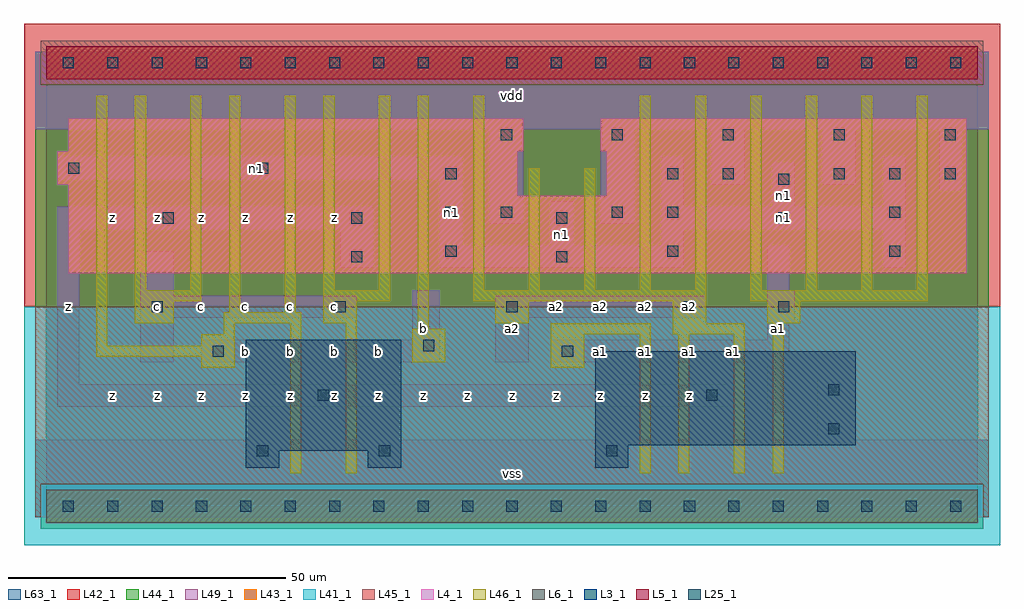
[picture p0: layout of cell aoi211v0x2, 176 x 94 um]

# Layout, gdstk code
import gdstk
lib = gdstk.Library(unit=1e-6, precision=1e-09)
def R(c, l, rs):  # rectangles x0, y0, x1, y1
    for r in rs: c.add(gdstk.rectangle(r[:2], r[2:], *l))
def A(c, l, x, y, w, h, nx, ny, dx, dy):  # array of equal rectangles
    R(c, l, [(x+i*dx, y+j*dy, x+i*dx+w, y+j*dy+h) for i in range(nx) for j in range(ny)])
L3_1 = (3, 1)
L4_1 = (4, 1)
L5_1 = (5, 1)
L6_1 = (6, 1)
L25_1 = (25, 1)
L41_1 = (41, 1)
L42_1 = (42, 1)
L43_1 = (43, 1)
L44_1 = (44, 1)
L45_1 = (45, 1)
L46_1 = (46, 1)
L49_1 = (49, 1)
L63_1 = (63, 1)

aoi211v0x2 = lib.new_cell('aoi211v0x2')
R(aoi211v0x2, L3_1, [(36,7,42,10), (58,7,64,10), (99,7,105,11), (36,10,64,30), (99,11,146,28)])
R(aoi211v0x2, L4_1, [(4,42,166,56), (4,56,85,58), (101,56,166,64), (2,58,85,64), (4,64,86,70), (100,64,166,70)])
R(aoi211v0x2, L5_1, [(0,77,168,83)])
R(aoi211v0x2, L6_1, [(0,-3,168,3), (0,-3,168,3)])
A(aoi211v0x2, L25_1, 3, -1, 2, 2, 21, 2, 8, 80)
A(aoi211v0x2, L25_1, 72, 45, 2, 2, 3, 1, 40, 0)
A(aoi211v0x2, L25_1, 142, 59, 2, 2, 3, 1, 10, 0)
A(aoi211v0x2, L25_1, 82, 66, 2, 2, 5, 1, 20, 0)
R(aoi211v0x2, L25_1, [(38,9,40,11), (60,9,62,11), (101,9,103,11), (141,13,143,15), (49,19,51,21), (119,19,121,21), (141,20,143,22), (30,27,32,29), (93,27,95,29), (68,28,70,30), (19,35,21,37), (52,35,54,37), (83,35,85,37), (115,35,117,37), (132,35,134,37), (55,44,57,46), (92,44,94,46), (21,51,23,53), (55,51,57,53), (92,51,94,53), (132,51,134,53), (72,52,74,54), (82,52,84,54), (102,52,104,54), (112,52,114,54), (152,52,154,54), (132,58,134,60), (72,59,74,61), (112,59,114,61), (122,59,124,61), (4,60,6,62), (38,60,40,62)])
R(aoi211v0x2, L41_1, [(-4,-7,172,36)])
R(aoi211v0x2, L42_1, [(-4,36,172,87)])
R(aoi211v0x2, L43_1, [(0,-3,168,3), (36,7,42,10), (58,7,64,10), (99,7,105,11), (36,10,64,30), (99,11,146,28), (4,42,166,56), (4,56,85,58), (101,56,166,64), (2,58,85,64), (4,64,86,70), (100,64,166,70), (0,77,168,83)])
R(aoi211v0x2, L44_1, [(-1,-4,169,4), (-2,36,170,76), (-2,76,-1,82), (169,76,170,82)])
R(aoi211v0x2, L45_1, [(-2,-2,-1,4), (169,-2,170,4), (-2,4,170,36), (-1,76,169,84)])
A(aoi211v0x2, L46_1, 107, 39, 2, 35, 6, 1, 10, 0)
R(aoi211v0x2, L46_1, [(44,6,46,33), (54,6,56,33), (107,6,109,31), (114,6,116,31), (124,6,126,31), (131,6,133,33), (28,25,34,27), (91,25,97,31), (66,26,72,32), (9,27,34,29), (9,29,11,74), (28,29,34,31), (32,31,34,33), (91,31,109,33), (113,31,126,33), (67,32,69,74), (16,33,23,37), (32,33,46,35), (50,33,56,37), (81,33,87,37), (113,33,119,37), (130,33,136,37), (33,35,35,74), (43,35,45,74), (16,37,28,39), (50,37,62,39), (77,37,119,39), (127,37,159,39), (16,39,18,74), (26,39,28,74), (50,39,52,74), (60,39,62,74), (77,39,79,74), (87,39,89,61), (97,39,99,61)])
R(aoi211v0x2, L49_1, [(-2,-2,170,12), (139,12,145,23), (130,17,134,26), (2,18,123,22), (2,22,6,50), (17,26,23,34), (28,26,71,30), (81,26,87,34), (91,26,134,30), (66,30,71,39), (130,30,134,33), (130,33,135,39), (17,34,56,38), (81,34,119,38), (17,38,23,46), (130,39,134,47), (53,43,59,50), (71,43,115,47), (151,43,155,50), (71,47,75,59), (91,47,95,55), (111,47,115,50), (2,50,59,54), (111,50,155,54), (80,51,86,68), (100,51,106,68), (111,54,115,63), (131,54,135,62), (151,54,155,63), (161,57,165,68), (120,58,126,68), (140,58,146,68), (2,59,75,63), (-2,68,170,82)])
R(aoi211v0x2, L63_1, [(0,0,168,80)])
aoi211v0x2.add(gdstk.Label('z', (20,20), layer=49, texttype=1))
aoi211v0x2.add(gdstk.Label('z', (12,20), layer=49, texttype=1))
aoi211v0x2.add(gdstk.Label('c', (20,36), layer=49, texttype=1))
aoi211v0x2.add(gdstk.Label('z', (4,36), layer=49, texttype=1))
aoi211v0x2.add(gdstk.Label('z', (12,52), layer=49, texttype=1))
aoi211v0x2.add(gdstk.Label('z', (20,52), layer=49, texttype=1))
aoi211v0x2.add(gdstk.Label('z', (28,20), layer=49, texttype=1))
aoi211v0x2.add(gdstk.Label('z', (52,20), layer=49, texttype=1))
aoi211v0x2.add(gdstk.Label('z', (44,20), layer=49, texttype=1))
aoi211v0x2.add(gdstk.Label('z', (36,20), layer=49, texttype=1))
aoi211v0x2.add(gdstk.Label('b', (36,28), layer=49, texttype=1))
aoi211v0x2.add(gdstk.Label('b', (44,28), layer=49, texttype=1))
aoi211v0x2.add(gdstk.Label('b', (52,28), layer=49, texttype=1))
aoi211v0x2.add(gdstk.Label('c', (28,36), layer=49, texttype=1))
aoi211v0x2.add(gdstk.Label('c', (52,36), layer=49, texttype=1))
aoi211v0x2.add(gdstk.Label('c', (44,36), layer=49, texttype=1))
aoi211v0x2.add(gdstk.Label('c', (36,36), layer=49, texttype=1))
aoi211v0x2.add(gdstk.Label('z', (28,52), layer=49, texttype=1))
aoi211v0x2.add(gdstk.Label('z', (36,52), layer=49, texttype=1))
aoi211v0x2.add(gdstk.Label('z', (44,52), layer=49, texttype=1))
aoi211v0x2.add(gdstk.Label('z', (52,52), layer=49, texttype=1))
aoi211v0x2.add(gdstk.Label('z', (76,20), layer=49, texttype=1))
aoi211v0x2.add(gdstk.Label('z', (68,20), layer=49, texttype=1))
aoi211v0x2.add(gdstk.Label('z', (60,20), layer=49, texttype=1))
aoi211v0x2.add(gdstk.Label('b', (60,28), layer=49, texttype=1))
aoi211v0x2.add(gdstk.Label('b', (68,32), layer=49, texttype=1))
aoi211v0x2.add(gdstk.Label('n1', (73,53), layer=49, texttype=1))
aoi211v0x2.add(gdstk.Label('n1', (38,61), layer=49, texttype=1))
aoi211v0x2.add(gdstk.Label('vss', (84,6), layer=49, texttype=1))
aoi211v0x2.add(gdstk.Label('z', (84,20), layer=49, texttype=1))
aoi211v0x2.add(gdstk.Label('z', (108,20), layer=49, texttype=1))
aoi211v0x2.add(gdstk.Label('z', (100,20), layer=49, texttype=1))
aoi211v0x2.add(gdstk.Label('z', (92,20), layer=49, texttype=1))
aoi211v0x2.add(gdstk.Label('a1', (100,28), layer=49, texttype=1))
aoi211v0x2.add(gdstk.Label('a1', (108,28), layer=49, texttype=1))
aoi211v0x2.add(gdstk.Label('a2', (84,32), layer=49, texttype=1))
aoi211v0x2.add(gdstk.Label('a2', (108,36), layer=49, texttype=1))
aoi211v0x2.add(gdstk.Label('a2', (100,36), layer=49, texttype=1))
aoi211v0x2.add(gdstk.Label('a2', (92,36), layer=49, texttype=1))
aoi211v0x2.add(gdstk.Label('n1', (93,49), layer=49, texttype=1))
aoi211v0x2.add(gdstk.Label('vdd', (84,74), layer=49, texttype=1))
aoi211v0x2.add(gdstk.Label('z', (116,20), layer=49, texttype=1))
aoi211v0x2.add(gdstk.Label('a1', (124,28), layer=49, texttype=1))
aoi211v0x2.add(gdstk.Label('a1', (116,28), layer=49, texttype=1))
aoi211v0x2.add(gdstk.Label('a2', (116,36), layer=49, texttype=1))
aoi211v0x2.add(gdstk.Label('a1', (132,32), layer=49, texttype=1))
aoi211v0x2.add(gdstk.Label('n1', (133,56), layer=49, texttype=1))
aoi211v0x2.add(gdstk.Label('n1', (133,52), layer=49, texttype=1))

lib.write_gds('aoi211v0x2.gds')
